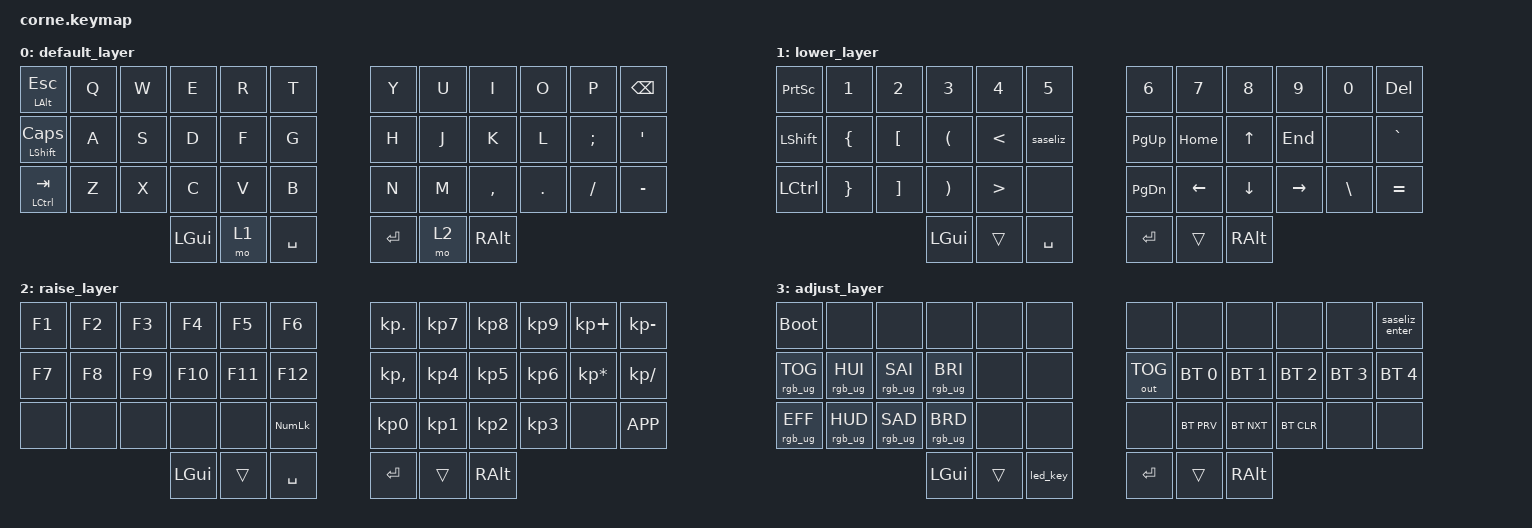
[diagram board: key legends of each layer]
/*
 * Corne CRKBD v3.0.1 — ZMK Keymap
 * Migrado desde QMK/VIA
 *
 * Board : NRF52840 compatible nice!nano v2
 * Shield: corne_left / corne_right
 *
 * Capas:
 *   0  Default  — QWERTY con mod-tap
 *   1  Lower    — Números, símbolos, navegación  (MO1)
 *   2  Raise    — Función, teclado numérico       (MO2)
 *   3  Adjust   — RGB, Bluetooth, sistema         (MO1 + MO2 simultáneos → tri-layer)
 *
 * LED al presionar:
 *   En la capa Adjust, la tecla ESPACIO activa el RGB mientras está presionada
 *   y lo apaga al soltarla (macro led_key con macro_pause_for_release).
 *   NOTA: rgb_ug guarda el estado en flash con debounce de ~1 min.
 *   No daña la memoria en uso cotidiano.
 *
 * USB + BLE (cargar y trabajar):
 *   El nice!nano v2 carga la batería automáticamente cuando el USB está conectado.
 *   Por defecto ZMK envía la salida por USB.
 *   Usa OUT_TOG (capa Adjust, tecla H) para alternar entre USB y BLE sin
 *   desconectar el cable. La selección persiste tras reinicios.
 *
 * Pantallas:
 *   Ver corne.conf para activar OLED.
 *   Para nice!view, editar también build.yaml (instrucciones incluidas).
 */

#include <behaviors.dtsi>
#include <dt-bindings/zmk/keys.h>
#include <dt-bindings/zmk/bt.h>
#include <dt-bindings/zmk/rgb.h>
#include <dt-bindings/zmk/outputs.h>

/* Longitud de la cadena de LEDs por lado (18 per-key + 9 underglow = 27) */
&led_strip {
    chain-length = <27>;
};

/ {

    /* ═══════════════════════════════════════════
     *  MACROS
     * ═══════════════════════════════════════════ */
    macros {

        /* Escribe "Saseliz" + Enter  (capa Adjust, esquina sup. derecha = P) */
        saseliz_enter: saseliz_enter {
            compatible = "zmk,behavior-macro";
            #binding-cells = <0>;
            wait-ms = <30>;
            tap-ms  = <30>;
            bindings =
                <&macro_press   &kp LSHFT>,
                <&macro_tap     &kp S>,
                <&macro_release &kp LSHFT>,
                <&macro_tap     &kp A &kp S &kp E &kp L &kp I &kp Z>,
                <&macro_tap     &kp RET>;
        };

        /* Escribe "Saseliz" sin Enter  (capa Lower, posición G) */
        saseliz: saseliz {
            compatible = "zmk,behavior-macro";
            #binding-cells = <0>;
            wait-ms = <30>;
            tap-ms  = <30>;
            bindings =
                <&macro_press   &kp LSHFT>,
                <&macro_tap     &kp S>,
                <&macro_release &kp LSHFT>,
                <&macro_tap     &kp A &kp S &kp E &kp L &kp I &kp Z>;
        };

        /*
         * LED mientras se mantiene presionada la tecla.
         *
         * Al presionar → RGB_ON
         * Al soltar    → RGB_OFF
         *
         * Implementación: macro_pause_for_release divide la ejecución en
         * dos momentos: press y release.
         *
         * Ubicación: capa Adjust → tecla ESPACIO (pulgar izquierdo centro).
         * Para activar: mantén MO1 + MO2 y presiona ESPACIO.
         */
        led_key: led_key {
            compatible = "zmk,behavior-macro";
            #binding-cells = <0>;
            wait-ms = <0>;
            tap-ms  = <0>;
            bindings =
                <&macro_tap &rgb_ug RGB_ON>,
                <&macro_pause_for_release>,
                <&macro_tap &rgb_ug RGB_OFF>;
        };

    };


    /* ═══════════════════════════════════════════
     *  TRI-LAYER
     *  Capa 3 se activa automáticamente cuando
     *  MO1 y MO2 están presionadas simultáneamente
     * ═══════════════════════════════════════════ */
    conditional_layers {
        compatible = "zmk,conditional-layers";
        tri_layer {
            if-layers  = <1 2>;
            then-layer = <3>;
        };
    };


    /* ═══════════════════════════════════════════
     *  KEYMAP
     * ═══════════════════════════════════════════ */
    keymap {
        compatible = "zmk,keymap";

        /* ──────────────────────────────────────
         *  CAPA 0 — Default (QWERTY)
         *
         *  ┌──────────┬───┬───┬───┬───┬───┐   ┌───┬───┬───┬───┬───┬──────┐
         *  │ ALT/ESC  │ Q │ W │ E │ R │ T │   │ Y │ U │ I │ O │ P │ BSPC │
         *  ├──────────┼───┼───┼───┼───┼───┤   ├───┼───┼───┼───┼───┼──────┤
         *  │ SFT/CAPS │ A │ S │ D │ F │ G │   │ H │ J │ K │ L │ ; │  '   │
         *  ├──────────┼───┼───┼───┼───┼───┤   ├───┼───┼───┼───┼───┼──────┤
         *  │ CTL/TAB  │ Z │ X │ C │ V │ B │   │ N │ M │ , │ . │ / │  -   │
         *  └──────────┴───┴───┴┬──┴┬──┴┬──┘   └──┬┴──┬┴──┬┴───┴───┴──────┘
         *                      │GUI│MO1│SPC│   │ENT│MO2│RAL│
         *                      └───┴───┴───┘   └───┴───┴───┘
         * ────────────────────────────────────── */
        default_layer {
            bindings = <
                &mt LALT ESC    &kp Q  &kp W  &kp E  &kp R  &kp T      &kp Y  &kp U  &kp I     &kp O    &kp P     &kp BSPC
                &mt LSHFT CAPS  &kp A  &kp S  &kp D  &kp F  &kp G      &kp H  &kp J  &kp K     &kp L    &kp SEMI  &kp SQT
                &mt LCTRL TAB   &kp Z  &kp X  &kp C  &kp V  &kp B      &kp N  &kp M  &kp COMMA &kp DOT  &kp FSLH  &kp MINUS
                                              &kp LGUI  &mo 1  &kp SPACE    &kp RET  &mo 2  &kp RALT
            >;
        };

        /* ──────────────────────────────────────
         *  CAPA 1 — Lower (Números · Símbolos · Navegación)
         *
         *  ┌──────┬───┬───┬───┬───┬──────┐   ┌──────┬──────┬─────┬─────┬────┬─────┐
         *  │PSCRN │ 1 │ 2 │ 3 │ 4 │  5   │   │  6   │  7   │  8  │  9  │ 0  │ DEL │
         *  ├──────┼───┼───┼───┼───┼──────┤   ├──────┼──────┼─────┼─────┼────┼─────┤
         *  │LSHFT │ { │ [ │ ( │ < │MACRO │   │ PGUP │ HOME │ UP  │ END │    │  `  │
         *  ├──────┼───┼───┼───┼───┼──────┤   ├──────┼──────┼─────┼─────┼────┼─────┤
         *  │LCTRL │ } │ ] │ ) │ > │      │   │ PGDN │ LEFT │DOWN │RGHT │ \  │  =  │
         *  └──────┴───┴───┴┬──┴┬──┴┬─────┘   └──┬───┴──┬───┴─┬───┴─────┴────┴─────┘
         *                  │GUI│▼▼▼│ SPC │   │ENT│▼▼▼│RAL│
         *                  └───┴───┴─────┘   └───┴───┴───┘
         *  MACRO = escribe "Saseliz" (sin Enter)
         * ────────────────────────────────────── */
        lower_layer {
            bindings = <
                &kp PSCRN   &kp N1    &kp N2    &kp N3    &kp N4   &kp N5       &kp N6     &kp N7    &kp N8    &kp N9     &kp N0    &kp DEL
                &kp LSHFT   &kp LBRC  &kp LBKT  &kp LPAR  &kp LT   &saseliz     &kp PG_UP  &kp HOME  &kp UP    &kp END    &none     &kp GRAVE
                &kp LCTRL   &kp RBRC  &kp RBKT  &kp RPAR  &kp GT   &none        &kp PG_DN  &kp LEFT  &kp DOWN  &kp RIGHT  &kp BSLH  &kp EQUAL
                                                &kp LGUI  &trans   &kp SPACE    &kp RET    &trans    &kp RALT
            >;
        };

        /* ──────────────────────────────────────
         *  CAPA 2 — Raise (Función · Teclado Numérico)
         *
         *  ┌────┬────┬────┬─────┬─────┬─────┐   ┌──────┬──────┬──────┬──────┬───────┬────────┐
         *  │ F1 │ F2 │ F3 │ F4  │ F5  │ F6  │   │ KP . │ KP 7 │ KP 8 │ KP 9 │ KP  + │ KP  -  │
         *  ├────┼────┼────┼─────┼─────┼─────┤   ├──────┼──────┼──────┼──────┼───────┼────────┤
         *  │ F7 │ F8 │ F9 │ F10 │ F11 │ F12 │   │ KP , │ KP 4 │ KP 5 │ KP 6 │ KP  * │ KP  /  │
         *  ├────┼────┼────┼─────┼─────┼─────┤   ├──────┼──────┼──────┼──────┼───────┼────────┤
         *  │    │    │    │     │     │ NUM │   │ KP 0 │ KP 1 │ KP 2 │ KP 3 │       │  APP   │
         *  └────┴────┴────┴──┬──┴──┬──┴──┬──┘   └──┬───┴───┬──┴──┬───┴──────┴───────┴────────┘
         *                    │ GUI │▼▼▼ │SPC│   │ENT│▼▼▼│RAL│
         *                    └─────┴────┴───┘   └───┴───┴───┘
         *  NUM = Numlock   APP = Tecla Menú/Aplicación
         * ────────────────────────────────────── */
        raise_layer {
            bindings = <
                &kp F1  &kp F2  &kp F3  &kp F4   &kp F5   &kp F6       &kp KP_DOT    &kp KP_N7  &kp KP_N8  &kp KP_N9  &kp KP_PLUS      &kp KP_MINUS
                &kp F7  &kp F8  &kp F9  &kp F10  &kp F11  &kp F12      &kp KP_COMMA  &kp KP_N4  &kp KP_N5  &kp KP_N6  &kp KP_MULTIPLY  &kp KP_DIVIDE
                &none   &none   &none   &none    &none    &kp KP_NUM   &kp KP_N0     &kp KP_N1  &kp KP_N2  &kp KP_N3  &none            &kp K_APP
                                        &kp LGUI &trans   &kp SPACE    &kp RET       &trans     &kp RALT
            >;
        };

        /* ──────────────────────────────────────
         *  CAPA 3 — Adjust (RGB · Bluetooth · Sistema)
         *  Activada automáticamente con MO1 + MO2
         *
         *  LADO IZQUIERDO — RGB underglow
         *  ┌───────┬───────┬───────┬───────┬───┬─────┐
         *  │ BOOT  │       │       │       │   │     │
         *  ├───────┼───────┼───────┼───────┼───┼─────┤
         *  │ TOG   │ HUE + │ SAT + │ BRI + │   │     │
         *  ├───────┼───────┼───────┼───────┼───┼─────┤
         *  │ EFF + │ HUE - │ SAT - │ BRI - │   │     │
         *  └───────┴───────┴───────┴──┬────┴─┬─┴──┬──┘
         *                             │ GUI  │▼▼▼│LED│ presionar=ON / soltar=OFF
         *                             └──────┴───┴───┘
         *
         *  LADO DERECHO — Bluetooth + USB/BLE
         *  ┌──────┬──────┬──────┬──────┬──────┬───────────────┐
         *  │      │      │      │      │      │ SASELIZ+ENTER │
         *  ├──────┼──────┼──────┼──────┼──────┼───────────────┤
         *  │ OTOG │ BT 0 │ BT 1 │ BT 2 │ BT 3 │     BT 4      │
         *  ├──────┼──────┼──────┼──────┼──────┼───────────────┤
         *  │      │BTPRV │BTNXT │BTCLR │      │               │
         *  └──────┴──────┴──────┴──┬───┴──┬───┴┬──────────────┘
         *                          │ ENT  │▼▼▼│RAL│
         *                          └──────┴───┴───┘
         *
         *  BOOT        = Bootloader (modo flasheo firmware)
         *  TOG/EFF+    = Alternar RGB / siguiente efecto
         *  BRI/HUE/SAT = Ajustes de color RGB
         *  OTOG        = Alternar salida USB ↔ BLE
         *  BT 0-4      = Seleccionar perfil Bluetooth (5 dispositivos)
         *  BTPRV/BTNXT = Perfil anterior / siguiente
         *  BTCLR       = Borrar emparejamiento del perfil activo
         * ────────────────────────────────────── */
        adjust_layer {
            bindings = <
                &bootloader      &none            &none            &none            &none   &none      &none         &none          &none          &none          &none          &saseliz_enter
                &rgb_ug RGB_TOG  &rgb_ug RGB_HUI  &rgb_ug RGB_SAI  &rgb_ug RGB_BRI  &none   &none      &out OUT_TOG  &bt BT_SEL 0   &bt BT_SEL 1   &bt BT_SEL 2   &bt BT_SEL 3   &bt BT_SEL 4
                &rgb_ug RGB_EFF  &rgb_ug RGB_HUD  &rgb_ug RGB_SAD  &rgb_ug RGB_BRD  &none   &none      &none         &bt BT_PRV     &bt BT_NXT     &bt BT_CLR     &none          &none
                                                                   &kp LGUI         &trans  &led_key   &kp RET       &trans         &kp RALT
            >;
        };

    };

};
